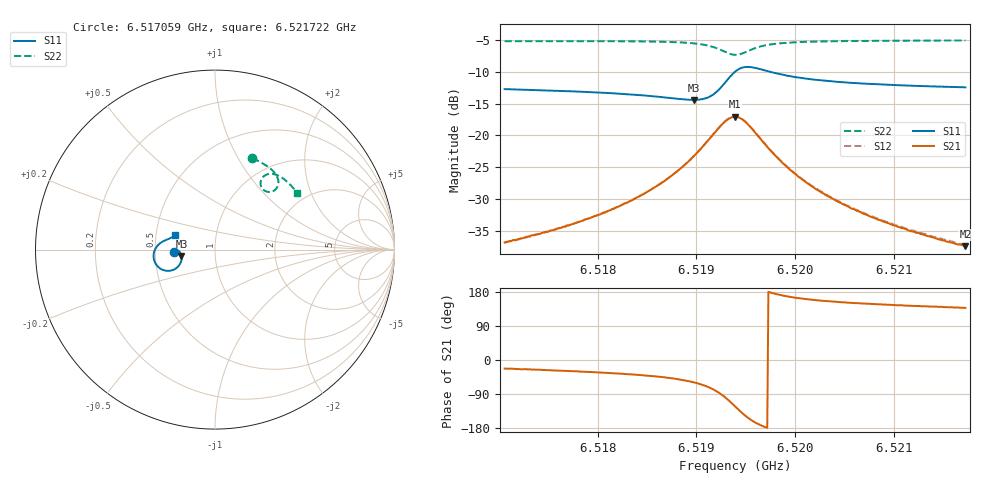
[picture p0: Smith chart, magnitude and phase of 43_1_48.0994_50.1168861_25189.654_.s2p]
#  HZ  S  RI  R  50.00
! Rohde & Schwarz Vector Network Analyzer
! Rohde-Schwarz,ZNB20-2Port,1311601062101988,3.16
! Created: UTC 12/23/2023, 3:38:59 AM
! freq[Hz]  re:S11  im:S11  re:S21  im:S21  re:S12  im:S12  re:S22  im:S22
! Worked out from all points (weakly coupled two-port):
!   401 points, 6.517059 GHz to 6.521722 GHz, reference 50 ohm
!   highest |S21| = -17.08 dB at 6.51939 GHz (marker M1); lowest = -37.4 dB at 6.521722 GHz (marker M2)
!   lowest |S11| = -14.4 dB at 6.518971 GHz (marker M3), VSWR 1.47, Z = 34.2 - j2.46 ohm
!   |S11| at or under -10 dB: start of sweep to 6.519391 GHz; 6.519743 GHz to end of sweep
!   |S22| runs from -7.4 to -5.1 dB; largest |S21 - S12| = 0.0043
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6.5170588e9  -0.2303 -0.016  0.0133 -0.00555  0.0134 -0.00502  0.2079 0.5076
6.5175484e9  -0.2245 -0.00909  0.0159 -0.00837  0.0164 -0.00771  0.2442 0.4916
6.5178398e9  -0.2201 -0.00593  0.0183 -0.0109  0.0186 -0.0103  0.2658 0.4803
6.5182712e9  -0.2112 -0.0043  0.0233 -0.0176  0.0239 -0.0167  0.2981 0.4595
6.5186209e9  -0.2005 -0.0092  0.0294 -0.0286  0.0305 -0.0278  0.3252 0.436
6.5188074e9  -0.1931 -0.018  0.0334 -0.0404  0.0349 -0.0395  0.3399 0.4179
6.5189706e9  -0.1869 -0.0347  0.0355 -0.0584  0.0375 -0.0576  0.3505 0.3949
6.5190755e9  -0.1862 -0.0536  0.0327 -0.0769  0.0356 -0.0762  0.3532 0.3743
6.5191688e9  -0.1937 -0.0779  0.0222 -0.0992  0.0253 -0.0992  0.3481 0.3509
6.519297e9  -0.2374 -0.1147  -0.0223 -0.1279  -0.0187 -0.1295  0.3142 0.3226
6.5193437e9  -0.2657 -0.1184  -0.0483 -0.1283  -0.045 -0.1307  0.2934 0.3218
6.5193903e9  -0.296 -0.1107  -0.0747 -0.1183  -0.0717 -0.1213  0.2735 0.3302
6.5194369e9  -0.3212 -0.0916  -0.095 -0.099  -0.093 -0.1025  0.2593 0.3469
6.5194952e9  -0.339 -0.0598  -0.1073 -0.0692  -0.1061 -0.0728  0.2536 0.3715
6.5195885e9  -0.3393 -0.0134  -0.1025 -0.0294  -0.1026 -0.0326  0.2659 0.4026
6.5196934e9  -0.3231 0.0183  -0.0851 -0.00469  -0.0856 -0.00724  0.2889 0.4186
6.5199265e9  -0.29 0.0459  -0.0543 0.0121  -0.0551 0.0107  0.3306 0.4203
6.5201714e9  -0.2694 0.0551  -0.037 0.0143  -0.0378 0.0133  0.3593 0.409
6.5205094e9  -0.2532 0.0616  -0.0249 0.0134  -0.0255 0.0128  0.3879 0.3898
6.5209524e9  -0.2401 0.068  -0.0168 0.0114  -0.0173 0.0112  0.4171 0.3636
6.5214653e9  -0.2294 0.0751  -0.0117 0.00964  -0.0123 0.00962  0.445 0.3323
6.5217218e9  -0.2251 0.0787  -0.00996 0.00912  -0.0104 0.00894  0.4573 0.3163
